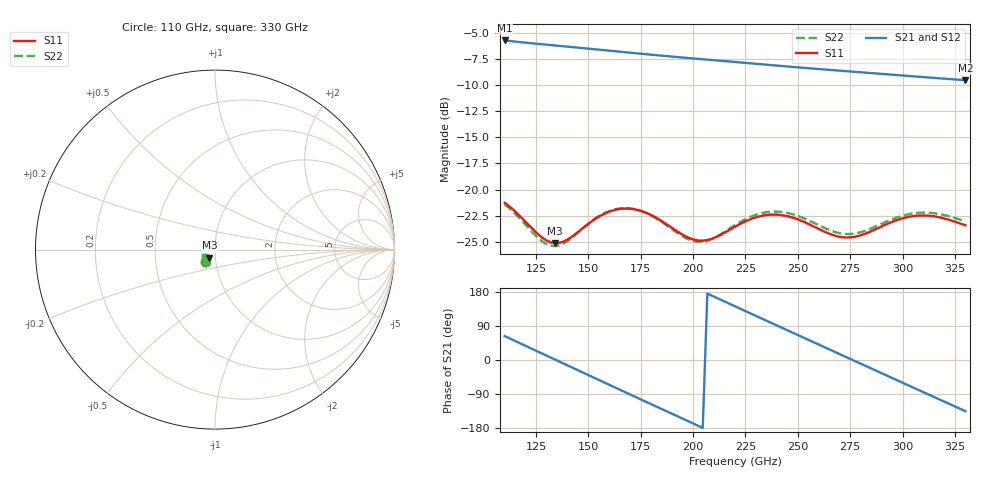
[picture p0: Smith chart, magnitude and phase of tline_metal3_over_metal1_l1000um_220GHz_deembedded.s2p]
! Created with skrf 2.2.0 (http://scikit-rf.org).
# GHz S DB R 50.0
! Port[1] = P1
! Port[2] = P2
!freq dBS11 angS11 dBS21 angS21 dBS12 angS12 dBS22 angS22
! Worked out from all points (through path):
!   101 points, 110 GHz to 330 GHz, reference 50 ohm
!   highest |S21| = -5.73 dB at 110 GHz (marker M1); lowest = -9.5 dB at 330 GHz (marker M2)
!   group delay of S21, straight-line fit = 7.05 ps
!   lowest |S11| = -25.1 dB at 134.2 GHz (marker M3), VSWR 1.12, Z = 46.8 - j4.29 ohm
!   |S11| at or under -10 dB: start of sweep to end of sweep
!   |S22| runs from -25.4 to -21.4 dB; largest |S21 - S12| = 5.5e-14
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110  -21.27 -127.9  -5.73 63.3  -5.73 63.3  -21.41 -127.1
123.2  -23.75 -134.0  -6.00 29.2  -6.00 29.2  -24.08 -132.4
134.2  -25.14 -124.2  -6.22 0.8  -6.22 0.8  -25.42 -120.8
147.4  -23.69 -114.8  -6.47 -33.2  -6.47 -33.2  -23.69 -111.3
156.2  -22.47 -118.3  -6.63 -55.8  -6.63 -55.8  -22.41 -115.5
165  -21.87 -125.8  -6.81 -78.3  -6.81 -78.3  -21.81 -123.5
173.8  -21.98 -134.0  -6.98 -100.8  -6.98 -100.8  -21.97 -132.0
184.8  -23.00 -141.2  -7.18 -128.8  -7.18 -128.8  -23.08 -139.3
193.6  -24.16 -141.3  -7.34 -151.2  -7.34 -151.2  -24.31 -138.9
202.4  -24.88 -135.6  -7.49 -173.6  -7.49 -173.6  -25.00 -132.3
211.2  -24.53 -129.0  -7.64 164.1  -7.64 164.1  -24.52 -125.1
220  -23.56 -127.2  -7.79 141.8  -7.79 141.8  -23.41 -123.4
228.8  -22.74 -130.3  -7.94 119.5  -7.94 119.5  -22.50 -127.0
237.6  -22.40 -135.9  -8.10 97.2  -8.10 97.2  -22.12 -133.0
246.4  -22.62 -141.4  -8.25 75.0  -8.25 75.0  -22.31 -138.9
257.4  -23.52 -145.1  -8.43 47.2  -8.43 47.2  -23.17 -143.1
266.2  -24.32 -143.2  -8.56 25.1  -8.56 25.1  -23.97 -141.7
275  -24.59 -137.8  -8.70 2.9  -8.70 2.9  -24.27 -136.7
283.8  -24.10 -133.1  -8.84 -19.2  -8.84 -19.2  -23.83 -132.3
294.8  -23.12 -132.9  -9.01 -46.9  -9.01 -46.9  -22.87 -132.0
312.4  -22.51 -140.7  -9.28 -91.1  -9.28 -91.1  -22.22 -139.8
330  -23.43 -145.1  -9.54 -135.1  -9.54 -135.1  -23.05 -144.9
